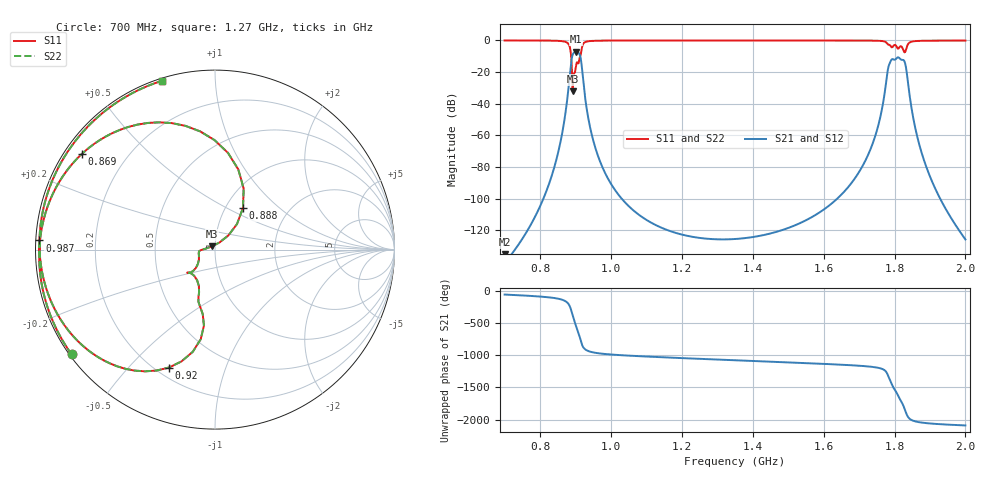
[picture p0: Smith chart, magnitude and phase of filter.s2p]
! Qucs-S S-parameter sweep: 5th-order Chebyshev coupled-line BPF, 890-915 MHz
! RO4003C er=3.55 h=813um t=35um tand=0.0027 rho=1.72e-8, Z0=50 ohm
! freq S11re S11im S21re S21im S12re S12im S22re S22im
# Hz S RI R 50
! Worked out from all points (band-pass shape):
!   1301 points, 700 MHz to 2 GHz, reference 50 ohm
!   highest |S21| = -7.20 dB at 901 MHz (marker M1); lowest = -140.8 dB at 700 MHz (marker M2)
!   |S21| within 3 dB of the highest: 890.6 MHz to 913.5 MHz (22.9 MHz wide, 2.54 % of centre)
!   lowest |S11| = -32.2 dB at 892 MHz (marker M3), VSWR 1.05, Z = 48.4 + j1.78 ohm
!   |S11| at or under -10 dB: 887.6 MHz to 913.5 MHz (25.91 MHz wide, 2.88 % of centre)
!   |S22| runs from -32.2 to -0.1 dB; largest |S21 - S12| = 1e-16
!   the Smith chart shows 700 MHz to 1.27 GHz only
!   S11 on the Smith chart (normalised r, x): 700 MHz: 0.01, -0.33; 869 MHz: 0.05, +0.32; 888 MHz: 1.20, +0.61; 920 MHz: 0.25, -0.65; 987 MHz: 0.01, +0.03; 1.27 GHz: 0.01, +0.73
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7e8  -0.7985 -0.5841  4.74e-08 -7.8e-08  4.74e-08 -7.8e-08  -0.7985 -0.5841
8.37e8  -0.9678 0.1045  -2.53e-05 -6.91e-05  -2.53e-05 -6.91e-05  -0.9678 0.1045
8.69e8  -0.7436 0.5312  -0.00284 -0.00138  -0.00284 -0.00138  -0.7436 0.5312
8.88e8  0.156 0.233  0.1267 0.1717  0.1267 0.1717  0.156 0.233
8.92e8  -0.0162 0.0183  0.3157 -0.1511  0.3157 -0.1511  -0.0162 0.0183
9.01e8  -0.106 -0.1012  -0.4361 -0.013  -0.4361 -0.013  -0.106 -0.1012
9.17e8  -0.0793 -0.499  -0.0169 -0.1754  -0.0169 -0.1754  -0.0793 -0.499
9.2e8  -0.2574 -0.6572  -0.0614 -0.0538  -0.0614 -0.0538  -0.2574 -0.6572
9.49e8  -0.9208 -0.2707  -0.000424 0.000628  -0.000424 0.000628  -0.9208 -0.2707
9.87e8  -0.9779 0.0509  -5.87e-06 5.32e-05  -5.87e-06 5.32e-05  -0.9779 0.0509
1.134e9  -0.7261 0.6669  8.45e-07 1.02e-06  8.45e-07 1.02e-06  -0.7261 0.6669
1.27e9  -0.296 0.9403  5.11e-07 1.72e-07  5.11e-07 1.72e-07  -0.296 0.9403
1.35e9  -0.00925 0.9855  5.27e-07 8.47e-09  5.27e-07 8.47e-09  -0.00925 0.9855
1.567e9  0.6907 0.7012  1.77e-06 -1.91e-06  1.77e-06 -1.91e-06  0.6907 0.7012
1.711e9  0.9537 0.2248  3.63e-06 -0.000113  3.63e-06 -0.000113  0.9537 0.2248
1.753e9  0.9669 -0.00146  -0.000768 -0.00164  -0.000768 -0.00164  0.9669 -0.00146
1.784e9  0.7009 -0.1863  -0.00453 0.1595  -0.00453 0.1595  0.7009 -0.1863
1.81e9  0.5429 -0.0622  -0.2892 0.0322  -0.2892 0.0322  0.5429 -0.0622
1.828e9  0.418 0.0344  0.1937 -0.0972  0.1937 -0.0972  0.418 0.0344
1.859e9  0.9411 0.0863  -0.00106 0.00121  -0.00106 0.00121  0.9411 0.0863
1.89e9  0.9624 -0.1238  -2.5e-05 9.48e-05  -2.5e-05 9.48e-05  0.9624 -0.1238
2e9  0.8117 -0.5476  1.85e-07 4.75e-07  1.85e-07 4.75e-07  0.8117 -0.5476
